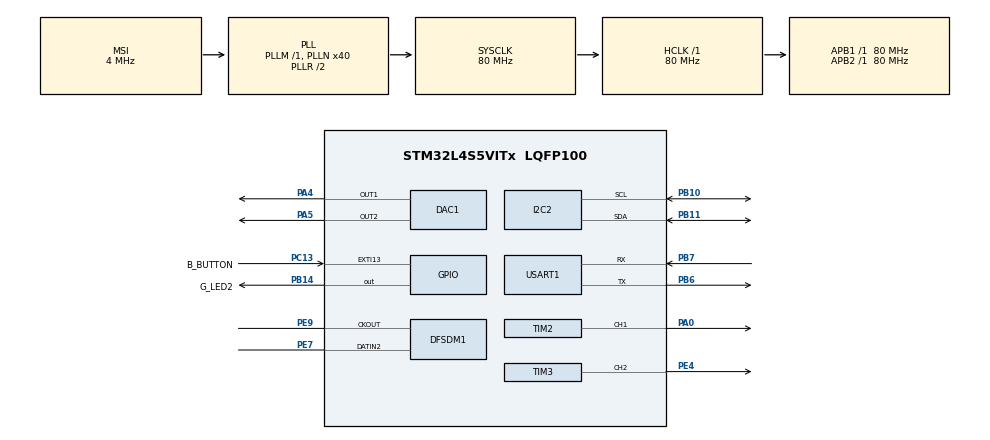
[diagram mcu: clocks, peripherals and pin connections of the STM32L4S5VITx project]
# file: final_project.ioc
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DAC1.DAC_Channel-DAC_OUT2=DAC_CHANNEL_2
DFSDM1.Divider=40
DFSDM1.DmaMode_reg_FIL0=ENABLE
DFSDM1.FastMode_reg_FIL0=ENABLE
DFSDM1.Filter_regChannel_FIL0=DFSDM_CHANNEL_2
DFSDM1.Fosr_FIL0=250
DFSDM1.SincOrder_FIL0=DFSDM_FILTER_SINC3_ORDER
Dma.DAC1_CH1.1.Direction=DMA_MEMORY_TO_PERIPH
Dma.DAC1_CH1.1.EventEnable=DISABLE
Dma.DAC1_CH1.1.Instance=DMA1_Channel2
Dma.DAC1_CH1.1.MemDataAlignment=DMA_MDATAALIGN_HALFWORD
Dma.DAC1_CH1.1.MemInc=DMA_MINC_ENABLE
Dma.DAC1_CH1.1.Mode=DMA_CIRCULAR
Dma.DAC1_CH1.1.PeriphDataAlignment=DMA_PDATAALIGN_HALFWORD
Dma.DAC1_CH1.1.PeriphInc=DMA_PINC_DISABLE
Dma.DAC1_CH1.1.Polarity=HAL_DMAMUX_REQUEST_GEN_RISING
Dma.DAC1_CH1.1.Priority=DMA_PRIORITY_LOW
Dma.DAC1_CH1.1.RequestNumber=1
Dma.DAC1_CH1.1.SignalID=NONE
Dma.DAC1_CH1.1.SyncEnable=DISABLE
Dma.DAC1_CH1.1.SyncPolarity=HAL_DMAMUX_SYNC_NO_EVENT
Dma.DAC1_CH1.1.SyncRequestNumber=1
Dma.DAC1_CH1.1.SyncSignalID=NONE
Dma.DFSDM1_FLT0.0.Direction=DMA_PERIPH_TO_MEMORY
Dma.DFSDM1_FLT0.0.EventEnable=DISABLE
Dma.DFSDM1_FLT0.0.Instance=DMA1_Channel1
Dma.DFSDM1_FLT0.0.MemDataAlignment=DMA_MDATAALIGN_WORD
Dma.DFSDM1_FLT0.0.MemInc=DMA_MINC_ENABLE
Dma.DFSDM1_FLT0.0.Mode=DMA_CIRCULAR
Dma.DFSDM1_FLT0.0.PeriphDataAlignment=DMA_PDATAALIGN_WORD
Dma.DFSDM1_FLT0.0.PeriphInc=DMA_PINC_DISABLE
Dma.DFSDM1_FLT0.0.Polarity=HAL_DMAMUX_REQUEST_GEN_RISING
Dma.DFSDM1_FLT0.0.Priority=DMA_PRIORITY_LOW
Dma.DFSDM1_FLT0.0.RequestNumber=1
Dma.DFSDM1_FLT0.0.SignalID=NONE
Dma.DFSDM1_FLT0.0.SyncEnable=DISABLE
Dma.DFSDM1_FLT0.0.SyncPolarity=HAL_DMAMUX_SYNC_NO_EVENT
Dma.DFSDM1_FLT0.0.SyncRequestNumber=1
Dma.DFSDM1_FLT0.0.SyncSignalID=NONE
Dma.Request0=DFSDM1_FLT0
Dma.Request1=DAC1_CH1
I2C2.Timing=0x10D19CE4
Mcu.Family=STM32L4
Mcu.Name=STM32L4S5VITx
Mcu.Package=LQFP100
NVIC.DMA1_Channel1_IRQn=true\:0\:0\:false\:false\:true\:false\:true\:true
NVIC.DMA1_Channel2_IRQn=true\:0\:0\:false\:false\:true\:false\:true\:true
NVIC.EXTI15_10_IRQn=true\:0\:0\:false\:false\:true\:true\:true\:true
NVIC.PriorityGroup=NVIC_PRIORITYGROUP_4
NVIC.TIM2_IRQn=true\:0\:0\:false\:false\:true\:true\:true\:true
NVIC.TIM3_IRQn=true\:0\:0\:false\:false\:true\:true\:true\:true
PA0.Signal=S_TIM2_CH1
PA4.Signal=COMP_DAC11_group
PA5.Signal=COMP_DAC12_group
PB10.Mode=I2C
PB10.Signal=I2C2_SCL
PB11.Mode=I2C
PB11.Signal=I2C2_SDA
PB14.GPIO_Label=G_LED2
PB14.Signal=GPIO_Output
PB3\ (JTDO/TRACESWO).Signal=SYS_JTDO-SWO
PB6.Mode=Asynchronous
PB6.Signal=USART1_TX
PB7.Mode=Asynchronous
PB7.Signal=USART1_RX
PC13.GPIO_Label=B_BUTTON
PC13.Signal=GPXTI13
PE4.Signal=S_TIM3_CH2
PE7.Signal=S_DATAIN2DFSDM1
PE9.Signal=S_CKOUTDFSDM1
ProjectManager.HeapSize=0x200
ProjectManager.StackSize=0x400
ProjectManager.TargetToolchain=STM32CubeIDE
RCC.AHBFreq_Value=80000000
RCC.APB1Freq_Value=80000000
RCC.APB1TimFreq_Value=80000000
RCC.APB2Freq_Value=80000000
RCC.APB2TimFreq_Value=80000000
RCC.CortexFreq_Value=80000000
RCC.HCLKFreq_Value=80000000
RCC.HSE_VALUE=8000000
RCC.HSI48_VALUE=48000000
RCC.HSI_VALUE=16000000
RCC.LSE_VALUE=32768
RCC.MSI_VALUE=4000000
RCC.PLLN=40
RCC.SYSCLKFreq_VALUE=80000000
RCC.SYSCLKSource=RCC_SYSCLKSOURCE_PLLCLK
RCC.VCOOutputFreq_Value=160000000
SH.COMP_DAC11_group.0=DAC1_OUT1,DAC_OUT1
SH.COMP_DAC12_group.0=DAC1_OUT2,DAC_OUT2
SH.S_CKOUTDFSDM1.0=DFSDM1_CKOUT,CKOUT
SH.S_CKOUTDFSDM1.1=DFSDM1_CKOUT,PDM_SPI_input_from_ch2_and_internal_clock
SH.S_DATAIN2DFSDM1.0=DFSDM1_DATIN2,PDM_SPI_input_from_ch2_and_internal_clock
SH.S_TIM2_CH1.0=TIM2_CH1,PWM Generation1 CH1
SH.S_TIM3_CH2.0=TIM3_CH2,PWM Generation2 CH2
TIM2.Channel-PWM\ Generation1\ CH1=TIM_CHANNEL_1
TIM2.TIM_MasterOutputTrigger=TIM_TRGO_UPDATE
TIM3.Channel-PWM\ Generation2\ CH2=TIM_CHANNEL_2
USART1.VirtualMode-Asynchronous=VM_ASYNC
VP_TIM2_VS_ClockSourceINT.Mode=Internal
VP_TIM3_VS_ClockSourceINT.Mode=Internal
board=custom

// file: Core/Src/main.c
/* USER CODE BEGIN Header */
/**
  ******************************************************************************
  * @file           : main.c
  * @brief          : Main program body
  ******************************************************************************
  * @attention
  *
  * Copyright (c) 2025 STMicroelectronics.
  * All rights reserved.
  *
  * This software is licensed under terms that can be found in the LICENSE file
  * in the root directory of this software component.
  * If no LICENSE file comes with this software, it is provided AS-IS.
  *
  ******************************************************************************
  */
/* USER CODE END Header */
#include "main.h"

/* USER CODE BEGIN Includes */
#include "stm32l4xx_hal.h"
#include "arm_math.h"
#include "stdio.h"
#include "string.h"
/* USER CODE END Includes */

DAC_HandleTypeDef hdac1;
DMA_HandleTypeDef hdma_dac1_ch1;

DFSDM_Filter_HandleTypeDef hdfsdm1_filter0;
DFSDM_Channel_HandleTypeDef hdfsdm1_channel2;
DMA_HandleTypeDef hdma_dfsdm1_flt0;

I2C_HandleTypeDef hi2c2;

TIM_HandleTypeDef htim2;
TIM_HandleTypeDef htim3;

UART_HandleTypeDef huart1;

/* USER CODE BEGIN PV */

//#define AUDIO_BUFFER_SIZE 44100

#define TIMER_PERIOD (SYSTEM_FREQ / SAMPLE_RATE)  // Calculate the correct timer period

uint8_t DmaRecHalfBuffCplt=0;
uint8_t DmaRecBuffCplt=0;

uint8_t button_state = 0;

//FOR THE SPEAKER

#define GUITAR_MIN_FREQ 80   // Low E string
#define GUITAR_MAX_FREQ 400  // High E harmonic

#define WAVE_MAX_VALUE 4095 // 12-bit DAC resolution 4095
#define WAVE_HALF_VALUE 2047
#define BOOST_FACTOR 4 // You can increase this value for more amplification
#define SAMPLE_COUNT 1000  // Number of samples in one sine wave cycle
#define RECORD_TIME_SEC 1      // Record up to 3 seconds

// recall Nyquist : sample rate >= 2 * max freq
#define SAMPLE_RATE 44100 // sample rate
#define SYSTEM_FREQ 80000000
#define PI 3.141592f

//for guitar tuning
#define AUDIO_BUFFER_SIZE (SAMPLE_RATE * RECORD_TIME_SEC)  // = 132,300 samples
#define FFT_SIZE 256  // Smaller size works for guitar notes

int32_t RecBuf[AUDIO_BUFFER_SIZE];

uint16_t speakerWave[AUDIO_BUFFER_SIZE]; // Global array to store values for the speaker
uint16_t sampleIndex = 0;

#define ITM_Port32(n) (*((volatile unsigned long *)(0xE0000000 + 4 * n))) // For SWV TraceLog (from Tut.)

//for guitar tuning
float32_t fftBuffer[FFT_SIZE];
arm_rfft_fast_instance_f32 fftHandler;
uint8_t pitchDetected = 0;
float currentPitch = 0;
char currentNote[8];

/* USER CODE END PV */

void SystemClock_Config(void);
static void MX_GPIO_Init(void);
static void MX_DMA_Init(void);
static void MX_I2C2_Init(void);
static void MX_USART1_UART_Init(void);
static void MX_TIM2_Init(void);
static void MX_DFSDM1_Init(void);
static void MX_DAC1_Init(void);
static void MX_TIM3_Init(void);

/* USER CODE BEGIN 0 */

// HELPER FUNCTIONS FOR GUITAR TUNING //

// Find the loudest section of the buffer (handles decaying plucks)
uint32_t FindLoudSection(int32_t* buffer, uint32_t size) {
    int32_t maxVal = 0;
    uint32_t endIndex = size;

    // Find peak volume
    for(uint32_t i = 0; i < size; i++) {
        int32_t absVal = buffer[i] > 0 ? buffer[i] : -buffer[i]; // Manual abs
        if(absVal > maxVal) maxVal = absVal;
    }

    // Find where signal drops below 20% of peak
    int32_t threshold = maxVal / 5;
    for(uint32_t i = 0; i < size; i++) {
        if((buffer[i] > 0 ? buffer[i] : -buffer[i]) < threshold) {
            endIndex = i;
            break;
        }
    }

    // Return constrained value
    return endIndex > FFT_SIZE ? FFT_SIZE : endIndex;
}

// Autocorrelation-based pitch detection
float AutoCorrelationTune(int32_t* buffer, uint32_t size) {

    // Calculate lag bounds
    uint32_t minLag = SAMPLE_RATE / GUITAR_MAX_FREQ; // ~110 samples
    uint32_t maxLag = SAMPLE_RATE / GUITAR_MIN_FREQ; // ~551 samples

    // Safety checks
    if(size < maxLag*2) {
        UART_Print("Need 1.1k samples minimum\r\n");
        return 0;
    }

    // Convert uint16_t to float32_t (-1 to +1 range)
    float32_t floatBuf[size];
    for(uint32_t i=0; i<size; i++) {
        floatBuf[i] = (buffer[i] - 2048) / 2048.0f; // 12-bit DAC center at 2048
    }

    float maxCorrelation = -1;
    uint32_t bestLag = minLag;

    // Sample every 4th lag for speed (we can interpolate later)
    for(uint32_t lag = minLag; lag < maxLag; lag += 4) {
        float correlation = 0;
        uint32_t compareLength = size - lag;

        // Only check every 4th sample for speed
        for(uint32_t i = 0; i < compareLength; i += 4) {
            correlation += floatBuf[i] * floatBuf[i+lag];
        }

        if(correlation > maxCorrelation) {
            maxCorrelation = correlation;
            bestLag = lag;
        }
    }

    // Refine around the best lag (+-3 samples)
    maxCorrelation = -1;
    uint32_t refineStart = bestLag > 3 ? bestLag - 3 : minLag;
    uint32_t refineEnd = bestLag + 3 < maxLag ? bestLag + 3 : maxLag;

    for(uint32_t lag = refineStart; lag <= refineEnd; lag++) {
        float correlation = 0;
        for(uint32_t i = 0; i < size - lag; i++) {
            correlation += buffer[i] * buffer[i+lag];
        }

        if(correlation > maxCorrelation) {
            maxCorrelation = correlation;
            bestLag = lag;
        }
    }

    return (float)SAMPLE_RATE / bestLag;
}

// Convert frequency to note name and cents
void DisplayTuning(float freq) {

	//the guitar notes!
    const char* notes[] = {"E2", "A2", "D3", "G3", "B3", "E4"};
    const float targets[] = {82.41, 110.0, 146.83, 196.0, 246.94, 329.63};
    char msg[32];

    // Find closest guitar string
    uint8_t closest = 0;
    float minDiff = fabsf(freq - targets[0]);
    for(uint8_t i = 1; i < 6; i++) {
        float diff = fabsf(freq - targets[i]);
        if(diff < minDiff) {
            minDiff = diff;
            closest = i;
        }
    }

    // Calculate cents (1/100th of a semitone)
    float cents = 1200 * log2f(freq / targets[closest]);

    if(fabsf(cents) < 5) {
        snprintf(msg, sizeof(msg), "%s: Perfect!\r\n", notes[closest]);
    }
    else if(cents < 0) {
        snprintf(msg, sizeof(msg), "%s: %d cents LOW\r\n",
                notes[closest], (int)fabsf(cents));
    }
    else {
        snprintf(msg, sizeof(msg), "%s: %d cents HIGH\r\n",
                notes[closest], (int)cents);
    }

    HAL_UART_Transmit(&huart1, (uint8_t*)msg, strlen(msg), HAL_MAX_DELAY);
}

// HELPER FUNCTIONS FOR GUITAR TUNING

// Helper function to send strings over UART
void UART_Print(const char *message) {
    HAL_UART_Transmit(&huart1, (uint8_t*)message, strlen(message), HAL_MAX_DELAY);
}

// This is insanely helpful to solve a lot of problem
void UART_Print_Error(const char *message, HAL_StatusTypeDef status) {
    char err_buf[64];
    snprintf(err_buf, sizeof(err_buf), "%s (Error: %d)\r\n", message, status);
    HAL_UART_Transmit(&huart1, (uint8_t*)err_buf, strlen(err_buf), HAL_MAX_DELAY);
}

//Button Interrupt, Toggle LED for debug
void HAL_GPIO_EXTI_Callback(uint16_t GPIO_Pin) {

	// if button is 0 -> NOT on recording mode, ready to record
	// if button is 1 -> Recording

	if (GPIO_Pin == B_BUTTON_Pin) {

        // Check if the button is pressed
        if (HAL_GPIO_ReadPin(B_BUTTON_GPIO_Port, B_BUTTON_Pin) == GPIO_PIN_SET) {

        	//ready to record. It also means we need to wipe out any recBuf
        	if (button_state == 0) {

				UART_Print("[recording...]\r\n");

                //just in case stop DMA
                //stop the timer now
                HAL_TIM_Base_Stop(&htim2);
                HAL_DAC_Stop_DMA(&hdac1, DAC_CHANNEL_1); // Ensure DAC DMA is stopped first
                HAL_DFSDM_FilterRegularStop_DMA(&hdfsdm1_filter0);  // Ensure DFSDM DMA is stopped

				//clear Buffers
                memset(RecBuf, 0, sizeof(RecBuf));  // Uncomment if needed
                memset(speakerWave, 2048, sizeof(speakerWave));  // Reset to silence (mid-scale)

//                // Reinitialize DFSDM completely
//                MX_DFSDM1_Init();
//                MX_DMA_Init(); // Reinitialize DMA as well

                //lit the LED
                HAL_GPIO_WritePin(G_LED2_GPIO_Port, G_LED2_Pin, GPIO_PIN_SET);

                //start the microphone DMA

                // Start DMA with fresh configuration
                if (HAL_DFSDM_FilterRegularStart_DMA(&hdfsdm1_filter0, RecBuf, AUDIO_BUFFER_SIZE) != HAL_OK) {
                    UART_Print("DFSDM start failed!\r\n");
                }

                HAL_TIM_Base_Start(&htim2); // Start DAC trigger timer

        		button_state = 1;

        	}
        	else if (button_state == 1) {

        	   // Print status message
                UART_Print("[processing audio...]\r\n");

                //unlit the LED
                HAL_GPIO_WritePin(G_LED2_GPIO_Port, G_LED2_Pin, GPIO_PIN_RESET);

                // Stop the current recording before starting a new one
                HAL_DFSDM_FilterRegularStop_DMA(&hdfsdm1_filter0);

                //stop the timer now
                HAL_TIM_Base_Stop(&htim2);

//                Mic-->PDM[PDM Data in RecBuf]
//                PDM-->DFSDM[DFSDM Filter]
//                DFSDM-->PCM[PCM in speakerWave]

                // Process recorded data
                for (uint16_t i = 0; i < AUDIO_BUFFER_SIZE; i++) {

                	// Convert to 24-bit signed
                	int32_t sample24 = RecBuf[i] >> 8;

                	 // Extract the top 12 bits
                	 int16_t sample12 = sample24 >> 12;

                	 // Apply the boost by multiplying by the boost factor
                	 int32_t boostedSample = sample12 * BOOST_FACTOR;

                	 // Ensure the value doesn't exceed DAC range (0 to 4095)
                	 if (boostedSample > 2047) {
                	     boostedSample = 2047;  // Max positive value for 12-bit DAC
                	 } else if (boostedSample < -2048) {
                	     boostedSample = -2048; // Max negative value for 12-bit DAC
                	 }

                	 // Convert the boosted value back to unsigned format for the DAC (0-4095)
                	 uint16_t dacValue = (uint16_t)(boostedSample + 2048);

                	 // Ensure the final DAC value is within the DAC's valid range
                	 if (dacValue > 4095) {
                	    dacValue = 4095; // Maximum value for 12-bit DAC
                	 } else if (dacValue < 0) {
                	    dacValue = 0; // Minimum value for 12-bit DAC
                	 }

                	 // Store the DAC value in the speakerWave buffer
                	 speakerWave[i] = dacValue;

                }

                //PROCESS AUDIO
                // Stop recording and tune

                // Problems are being caused here

                //uint32_t usableSamples = FindLoudSection(RecBuf, AUDIO_BUFFER_SIZE);

                float freq = AutoCorrelationTune(RecBuf, AUDIO_BUFFER_SIZE);

                if(freq > 70 && freq < 400) { // Valid guitar range
                    DisplayTuning(freq);

                } else {
                    UART_Print("No note detected - try again\r\n");
                }
                // ... existing playback code ...
                //DONE PROCESSING AUDIO

				UART_Print("[playing back through speaker...]\r\n");
                //just in case stop DMA
                //HAL_DAC_Stop_DMA(&hdac1, DAC_CHANNEL_1); // Ensure DAC DMA is stopped first

                HAL_DAC_Start_DMA(&hdac1, DAC_CHANNEL_1, (uint16_t*)speakerWave, AUDIO_BUFFER_SIZE, DAC_ALIGN_12B_R);
                HAL_TIM_Base_Start(&htim2); // Start DAC trigger timer

                button_state = 0;

        	}

        }

	}
}

void HAL_TIM_PeriodElapsedCallback(TIM_HandleTypeDef *htim) {

    if(htim == &htim3 && button_state == 1) {
        uint32_t usableSamples = FindLoudSection(RecBuf, AUDIO_BUFFER_SIZE);
        if(usableSamples > FFT_SIZE/2) {
            float freq = AutoCorrelationTune(RecBuf, usableSamples);
            if(freq > 70 && freq < 400) {
                DisplayTuning(freq);
            }
        }
    }
}

/* USER CODE END 0 */

int main(void)
{

  /* USER CODE BEGIN 1 */
	// Set up FFT
	arm_rfft_fast_init_f32(&fftHandler, FFT_SIZE);

	// Set up a timer for periodic pitch detection (every 100ms)
	HAL_TIM_Base_Start_IT(&htim3);  // Using TIM3 for periodic detection
  /* USER CODE END 1 */

  /* MCU Configuration--------------------------------------------------------*/

  /* Reset of all peripherals, Initializes the Flash interface and the Systick. */
  HAL_Init();

  /* Configure the system clock */
  SystemClock_Config();

  /* Initialize all configured peripherals */
  MX_GPIO_Init();
  MX_DMA_Init();
  MX_I2C2_Init();
  MX_USART1_UART_Init();
  MX_TIM2_Init();
  MX_DFSDM1_Init();
  MX_DAC1_Init();
  MX_TIM3_Init();
  /* USER CODE BEGIN 2 */

    // Initialize UART and send welcome message
  UART_Print("\r\nAudio Recorder/Player Ready\r\n");
  UART_Print("Press button to start recording\r\n");
  UART_Print("Press button again to play back\r\n\r\n");

  HAL_DAC_Start(&hdac1, DAC_CHANNEL_1); // Start DAC channel 1
  HAL_TIM_Base_Start_IT(&htim2);

  memset(RecBuf, 0, sizeof(RecBuf));  // Uncomment if needed
  memset(speakerWave, 2048, sizeof(speakerWave));  // Reset to silence (mid-scale)

  /* USER CODE END 2 */

  /* Infinite loop */
  while (1)
  {

    /* USER CODE BEGIN 3 */

	  	// Something very important to know is that when the microphone captures stuff, it is
	    // the DFSDM module, captures the PDM data. which is 32bits. However, it is converted
	  	// to 16-bit SIGNED PCM format, where the microphone outputs data in 2's complement.
		    // Debug output - show first sample value
    if(button_state == 1) { // Only when recording
        char dbg_msg[64];
        snprintf(dbg_msg, sizeof(dbg_msg), "First sample: %ld\r\n", RecBuf[0]);
        HAL_UART_Transmit(&huart1, (uint8_t*)dbg_msg, strlen(dbg_msg), HAL_MAX_DELAY);
    }
    HAL_Delay(500);

  }
  /* USER CODE END 3 */
}

void SystemClock_Config(void)
{
  RCC_OscInitTypeDef RCC_OscInitStruct = {0};
  RCC_ClkInitTypeDef RCC_ClkInitStruct = {0};

  /** Configure the main internal regulator output voltage
  */
  if (HAL_PWREx_ControlVoltageScaling(PWR_REGULATOR_VOLTAGE_SCALE1) != HAL_OK)
  {
    Error_Handler();
  }

  /** Initializes the RCC Oscillators according to the specified parameters
  * in the RCC_OscInitTypeDef structure.
  */
  RCC_OscInitStruct.OscillatorType = RCC_OSCILLATORTYPE_MSI;
  RCC_OscInitStruct.MSIState = RCC_MSI_ON;
  RCC_OscInitStruct.MSICalibrationValue = 0;
  RCC_OscInitStruct.MSIClockRange = RCC_MSIRANGE_6;
  RCC_OscInitStruct.PLL.PLLState = RCC_PLL_ON;
  RCC_OscInitStruct.PLL.PLLSource = RCC_PLLSOURCE_MSI;
  RCC_OscInitStruct.PLL.PLLM = 1;
  RCC_OscInitStruct.PLL.PLLN = 40;
  RCC_OscInitStruct.PLL.PLLP = RCC_PLLP_DIV2;
  RCC_OscInitStruct.PLL.PLLQ = RCC_PLLQ_DIV2;
  RCC_OscInitStruct.PLL.PLLR = RCC_PLLR_DIV2;
  if (HAL_RCC_OscConfig(&RCC_OscInitStruct) != HAL_OK)
  {
    Error_Handler();
  }

  /** Initializes the CPU, AHB and APB buses clocks
  */
  RCC_ClkInitStruct.ClockType = RCC_CLOCKTYPE_HCLK|RCC_CLOCKTYPE_SYSCLK
                              |RCC_CLOCKTYPE_PCLK1|RCC_CLOCKTYPE_PCLK2;
  RCC_ClkInitStruct.SYSCLKSource = RCC_SYSCLKSOURCE_PLLCLK;
  RCC_ClkInitStruct.AHBCLKDivider = RCC_SYSCLK_DIV1;
  RCC_ClkInitStruct.APB1CLKDivider = RCC_HCLK_DIV1;
  RCC_ClkInitStruct.APB2CLKDivider = RCC_HCLK_DIV1;

  if (HAL_RCC_ClockConfig(&RCC_ClkInitStruct, FLASH_LATENCY_3) != HAL_OK)
  {
    Error_Handler();
  }
}

static void MX_DAC1_Init(void)
{

  DAC_ChannelConfTypeDef sConfig = {0};

  /** DAC Initialization
  */
  hdac1.Instance = DAC1;
  if (HAL_DAC_Init(&hdac1) != HAL_OK)
  {
    Error_Handler();
  }

  /** DAC channel OUT1 config
  */
  sConfig.DAC_SampleAndHold = DAC_SAMPLEANDHOLD_DISABLE;
  sConfig.DAC_Trigger = DAC_TRIGGER_T2_TRGO;
  sConfig.DAC_HighFrequency = DAC_HIGH_FREQUENCY_INTERFACE_MODE_ABOVE_80MHZ;
  sConfig.DAC_OutputBuffer = DAC_OUTPUTBUFFER_ENABLE;
  sConfig.DAC_ConnectOnChipPeripheral = DAC_CHIPCONNECT_DISABLE;
  sConfig.DAC_UserTrimming = DAC_TRIMMING_FACTORY;
  if (HAL_DAC_ConfigChannel(&hdac1, &sConfig, DAC_CHANNEL_1) != HAL_OK)
  {
    Error_Handler();
  }

  /** DAC channel OUT2 config
  */
  if (HAL_DAC_ConfigChannel(&hdac1, &sConfig, DAC_CHANNEL_2) != HAL_OK)
  {
    Error_Handler();
  }

}

static void MX_DFSDM1_Init(void)
{

  /* USER CODE BEGIN DFSDM1_Init 0 */
	HAL_StatusTypeDef status;
  /* USER CODE END DFSDM1_Init 0 */

  hdfsdm1_filter0.Instance = DFSDM1_Filter0;
  hdfsdm1_filter0.Init.RegularParam.Trigger = DFSDM_FILTER_SW_TRIGGER;
  hdfsdm1_filter0.Init.RegularParam.FastMode = ENABLE;
  hdfsdm1_filter0.Init.RegularParam.DmaMode = ENABLE;
  hdfsdm1_filter0.Init.FilterParam.SincOrder = DFSDM_FILTER_SINC3_ORDER;
  hdfsdm1_filter0.Init.FilterParam.Oversampling = 250;
  hdfsdm1_filter0.Init.FilterParam.IntOversampling = 1;

  //CHANGED to know why Filter is not starting again.
  status = HAL_DFSDM_FilterInit(&hdfsdm1_filter0);
    if(status != HAL_OK) {
        UART_Print_Error("Filter Init Failed", status);
        Error_Handler();
    }

  hdfsdm1_channel2.Instance = DFSDM1_Channel2;
  hdfsdm1_channel2.Init.OutputClock.Activation = ENABLE;
  hdfsdm1_channel2.Init.OutputClock.Selection = DFSDM_CHANNEL_OUTPUT_CLOCK_SYSTEM;
  hdfsdm1_channel2.Init.OutputClock.Divider = 7;
  hdfsdm1_channel2.Init.Input.Multiplexer = DFSDM_CHANNEL_EXTERNAL_INPUTS;
  hdfsdm1_channel2.Init.Input.DataPacking = DFSDM_CHANNEL_STANDARD_MODE;
  hdfsdm1_channel2.Init.Input.Pins = DFSDM_CHANNEL_SAME_CHANNEL_PINS;
  hdfsdm1_channel2.Init.SerialInterface.Type = DFSDM_CHANNEL_SPI_RISING;
  hdfsdm1_channel2.Init.SerialInterface.SpiClock = DFSDM_CHANNEL_SPI_CLOCK_INTERNAL;
  hdfsdm1_channel2.Init.Awd.FilterOrder = DFSDM_CHANNEL_FASTSINC_ORDER;
  hdfsdm1_channel2.Init.Awd.Oversampling = 1;
  hdfsdm1_channel2.Init.Offset = 0;
  hdfsdm1_channel2.Init.RightBitShift = 0x00;

    status = HAL_DFSDM_ChannelInit(&hdfsdm1_channel2);
    if(status != HAL_OK) {
        UART_Print_Error("Channel Init Failed", status);
        Error_Handler();
    }

    /* Associate channel with filter */
    status = HAL_DFSDM_FilterConfigRegChannel(&hdfsdm1_filter0, DFSDM_CHANNEL_2, DFSDM_CONTINUOUS_CONV_ON);
    if(status != HAL_OK) {
        UART_Print_Error("Filter Config Failed", status);
        Error_Handler();
    }

}

static void MX_I2C2_Init(void)
{

  hi2c2.Instance = I2C2;
  hi2c2.Init.Timing = 0x10D19CE4;
  hi2c2.Init.OwnAddress1 = 0;
  hi2c2.Init.AddressingMode = I2C_ADDRESSINGMODE_7BIT;
  hi2c2.Init.DualAddressMode = I2C_DUALADDRESS_DISABLE;
  hi2c2.Init.OwnAddress2 = 0;
  hi2c2.Init.OwnAddress2Masks = I2C_OA2_NOMASK;
  hi2c2.Init.GeneralCallMode = I2C_GENERALCALL_DISABLE;
  hi2c2.Init.NoStretchMode = I2C_NOSTRETCH_DISABLE;
  if (HAL_I2C_Init(&hi2c2) != HAL_OK)
  {
    Error_Handler();
  }

  /** Configure Analogue filter
  */
  if (HAL_I2CEx_ConfigAnalogFilter(&hi2c2, I2C_ANALOGFILTER_ENABLE) != HAL_OK)
  {
    Error_Handler();
  }

  /** Configure Digital filter
  */
  if (HAL_I2CEx_ConfigDigitalFilter(&hi2c2, 0) != HAL_OK)
  {
    Error_Handler();
  }

}

static void MX_TIM2_Init(void)
{

  TIM_ClockConfigTypeDef sClockSourceConfig = {0};
  TIM_MasterConfigTypeDef sMasterConfig = {0};
  TIM_OC_InitTypeDef sConfigOC = {0};

  htim2.Instance = TIM2;
  htim2.Init.Prescaler = 0;
  htim2.Init.CounterMode = TIM_COUNTERMODE_UP;
  htim2.Init.Period = (TIMER_PERIOD - 1);
  htim2.Init.ClockDivision = TIM_CLOCKDIVISION_DIV1;
  htim2.Init.AutoReloadPreload = TIM_AUTORELOAD_PRELOAD_DISABLE;
  if (HAL_TIM_Base_Init(&htim2) != HAL_OK)
  {
    Error_Handler();
  }
  sClockSourceConfig.ClockSource = TIM_CLOCKSOURCE_INTERNAL;
  if (HAL_TIM_ConfigClockSource(&htim2, &sClockSourceConfig) != HAL_OK)
  {
    Error_Handler();
  }
  if (HAL_TIM_PWM_Init(&htim2) != HAL_OK)
  {
    Error_Handler();
  }
  sMasterConfig.MasterOutputTrigger = TIM_TRGO_UPDATE;
  sMasterConfig.MasterSlaveMode = TIM_MASTERSLAVEMODE_DISABLE;
  if (HAL_TIMEx_MasterConfigSynchronization(&htim2, &sMasterConfig) != HAL_OK)
  {
    Error_Handler();
  }
  sConfigOC.OCMode = TIM_OCMODE_PWM1;
  sConfigOC.Pulse = 0;
  sConfigOC.OCPolarity = TIM_OCPOLARITY_HIGH;
  sConfigOC.OCFastMode = TIM_OCFAST_DISABLE;
  if (HAL_TIM_PWM_ConfigChannel(&htim2, &sConfigOC, TIM_CHANNEL_1) != HAL_OK)
  {
    Error_Handler();
  }
  HAL_TIM_MspPostInit(&htim2);

}

static void MX_TIM3_Init(void)
{

  TIM_ClockConfigTypeDef sClockSourceConfig = {0};
  TIM_MasterConfigTypeDef sMasterConfig = {0};
  TIM_OC_InitTypeDef sConfigOC = {0};

  htim3.Instance = TIM3;
  htim3.Init.Prescaler = 7999;
  htim3.Init.CounterMode = TIM_COUNTERMODE_UP;
  htim3.Init.Period = 999;
  htim3.Init.ClockDivision = TIM_CLOCKDIVISION_DIV1;
  htim3.Init.AutoReloadPreload = TIM_AUTORELOAD_PRELOAD_DISABLE;
  if (HAL_TIM_Base_Init(&htim3) != HAL_OK)
  {
    Error_Handler();
  }
  sClockSourceConfig.ClockSource = TIM_CLOCKSOURCE_INTERNAL;
  if (HAL_TIM_ConfigClockSource(&htim3, &sClockSourceConfig) != HAL_OK)
  {
    Error_Handler();
  }
  if (HAL_TIM_PWM_Init(&htim3) != HAL_OK)
  {
    Error_Handler();
  }
  sMasterConfig.MasterOutputTrigger = TIM_TRGO_RESET;
  sMasterConfig.MasterSlaveMode = TIM_MASTERSLAVEMODE_DISABLE;
  if (HAL_TIMEx_MasterConfigSynchronization(&htim3, &sMasterConfig) != HAL_OK)
  {
    Error_Handler();
  }
  sConfigOC.OCMode = TIM_OCMODE_PWM1;
  sConfigOC.Pulse = 0;
  sConfigOC.OCPolarity = TIM_OCPOLARITY_HIGH;
  sConfigOC.OCFastMode = TIM_OCFAST_DISABLE;
  if (HAL_TIM_PWM_ConfigChannel(&htim3, &sConfigOC, TIM_CHANNEL_2) != HAL_OK)
  {
    Error_Handler();
  }
  HAL_TIM_MspPostInit(&htim3);

}

static void MX_USART1_UART_Init(void)
{

  huart1.Instance = USART1;
  huart1.Init.BaudRate = 115200;
  huart1.Init.WordLength = UART_WORDLENGTH_8B;
  huart1.Init.StopBits = UART_STOPBITS_1;
  huart1.Init.Parity = UART_PARITY_NONE;
  huart1.Init.Mode = UART_MODE_TX_RX;
  huart1.Init.HwFlowCtl = UART_HWCONTROL_NONE;
  huart1.Init.OverSampling = UART_OVERSAMPLING_16;
  huart1.Init.OneBitSampling = UART_ONE_BIT_SAMPLE_DISABLE;
  huart1.Init.ClockPrescaler = UART_PRESCALER_DIV1;
  huart1.AdvancedInit.AdvFeatureInit = UART_ADVFEATURE_NO_INIT;
  if (HAL_UART_Init(&huart1) != HAL_OK)
  {
    Error_Handler();
  }
  if (HAL_UARTEx_SetTxFifoThreshold(&huart1, UART_TXFIFO_THRESHOLD_1_8) != HAL_OK)
  {
    Error_Handler();
  }
  if (HAL_UARTEx_SetRxFifoThreshold(&huart1, UART_RXFIFO_THRESHOLD_1_8) != HAL_OK)
  {
    Error_Handler();
  }
  if (HAL_UARTEx_DisableFifoMode(&huart1) != HAL_OK)
  {
    Error_Handler();
  }

}

static void MX_DMA_Init(void)
{

  /* DMA controller clock enable */
  __HAL_RCC_DMAMUX1_CLK_ENABLE();
  __HAL_RCC_DMA1_CLK_ENABLE();

  /* DMA interrupt init */
  /* DMA1_Channel1_IRQn interrupt configuration */
  HAL_NVIC_SetPriority(DMA1_Channel1_IRQn, 0, 0);
  HAL_NVIC_EnableIRQ(DMA1_Channel1_IRQn);
  /* DMA1_Channel2_IRQn interrupt configuration */
  HAL_NVIC_SetPriority(DMA1_Channel2_IRQn, 0, 0);
  HAL_NVIC_EnableIRQ(DMA1_Channel2_IRQn);

}

static void MX_GPIO_Init(void)
{
  GPIO_InitTypeDef GPIO_InitStruct = {0};

  /* GPIO Ports Clock Enable */
  __HAL_RCC_GPIOE_CLK_ENABLE();
  __HAL_RCC_GPIOC_CLK_ENABLE();
  __HAL_RCC_GPIOA_CLK_ENABLE();
  __HAL_RCC_GPIOB_CLK_ENABLE();

  /*Configure GPIO pin Output Level */
  HAL_GPIO_WritePin(G_LED2_GPIO_Port, G_LED2_Pin, GPIO_PIN_RESET);

  /*Configure GPIO pin : B_BUTTON_Pin */
  GPIO_InitStruct.Pin = B_BUTTON_Pin;
  GPIO_InitStruct.Mode = GPIO_MODE_IT_RISING;
  GPIO_InitStruct.Pull = GPIO_NOPULL;
  HAL_GPIO_Init(B_BUTTON_GPIO_Port, &GPIO_InitStruct);

  /*Configure GPIO pin : G_LED2_Pin */
  GPIO_InitStruct.Pin = G_LED2_Pin;
  GPIO_InitStruct.Mode = GPIO_MODE_OUTPUT_PP;
  GPIO_InitStruct.Pull = GPIO_NOPULL;
  GPIO_InitStruct.Speed = GPIO_SPEED_FREQ_LOW;
  HAL_GPIO_Init(G_LED2_GPIO_Port, &GPIO_InitStruct);

  /* EXTI interrupt init*/
  HAL_NVIC_SetPriority(EXTI15_10_IRQn, 0, 0);
  HAL_NVIC_EnableIRQ(EXTI15_10_IRQn);

}

/* USER CODE BEGIN 4 */

void HAL_DFSDM_FilterRegConvHalfCpltCallback(DFSDM_Filter_HandleTypeDef *hdfsdm_filter)
{

	DmaRecHalfBuffCplt=1;

}

void HAL_DFSDM_FilterRegConvCpltCallback(DFSDM_Filter_HandleTypeDef *hdfsdm_filter)
{

	DmaRecBuffCplt=1;

}

/* USER CODE END 4 */

void Error_Handler(void)
{
  __disable_irq();
  while (1)
  {
  }
}
